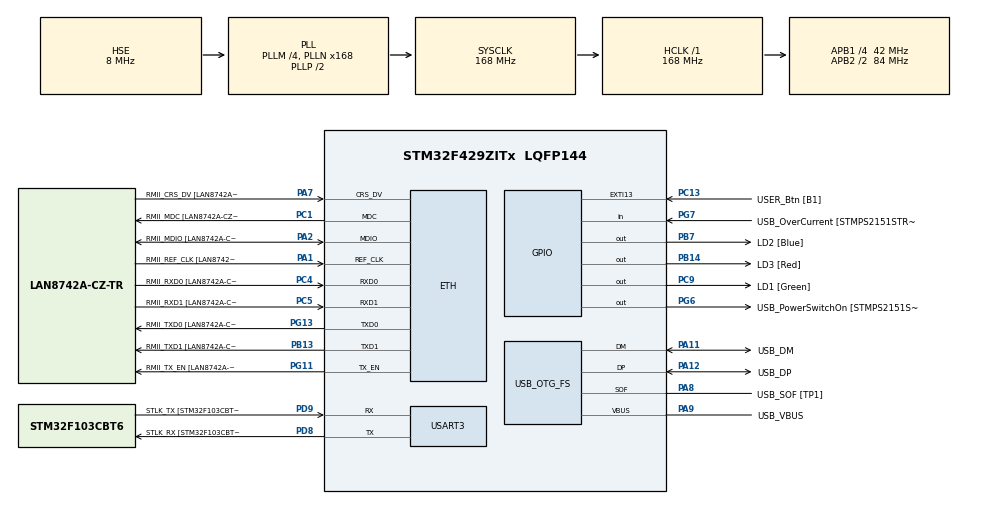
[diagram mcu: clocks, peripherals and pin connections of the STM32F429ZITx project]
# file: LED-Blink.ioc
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ETH.MediaInterface=ETH_MEDIA_INTERFACE_RMII
ETH.PHY_Name=LAN8742A_PHY_ADDRESS
ETH.PHY_Value=0
ETH.PhyAddress=0
FREERTOS.Tasks01=defaultTask,0,128,StartDefaultTask,Default,NULL
Mcu.Family=STM32F4
Mcu.Name=STM32F429ZITx
Mcu.Package=LQFP144
NVIC.PriorityGroup=NVIC_PRIORITYGROUP_4
NVIC.TIM1_UP_TIM10_IRQn=true\:0\:0\:false\:false\:true\:false\:false
NVIC.TimeBase=TIM1_UP_TIM10_IRQn
NVIC.TimeBaseIP=TIM1
PA0/WKUP.Mode=SYS_WakeUp0
PA0/WKUP.Signal=SYS_WKUP
PA1.GPIO_Label=RMII_REF_CLK [LAN8742A-CZ-TR_REFCLK0]
PA1.Mode=RMII
PA1.Signal=ETH_REF_CLK
PA10.GPIO_Label=USB_ID
PA10.Signal=USB_OTG_FS_ID
PA11.GPIO_Label=USB_DM
PA11.Mode=Device_Only
PA11.Signal=USB_OTG_FS_DM
PA12.GPIO_Label=USB_DP
PA12.Mode=Device_Only
PA12.Signal=USB_OTG_FS_DP
PA13.GPIO_Label=TMS
PA13.Mode=Serial_Wire
PA13.Signal=SYS_JTMS-SWDIO
PA14.GPIO_Label=TCK
PA14.Mode=Serial_Wire
PA14.Signal=SYS_JTCK-SWCLK
PA2.GPIO_Label=RMII_MDIO [LAN8742A-CZ-TR_MDIO]
PA2.Mode=RMII
PA2.Signal=ETH_MDIO
PA7.GPIO_Label=RMII_CRS_DV [LAN8742A-CZ-TR_CRS_DV]
PA7.Mode=RMII
PA7.Signal=ETH_CRS_DV
PA8.GPIO_Label=USB_SOF [TP1]
PA8.Mode=Activate_SOF_FS
PA8.Signal=USB_OTG_FS_SOF
PA9.GPIO_Label=USB_VBUS
PA9.Mode=Activate_VBUS
PA9.Signal=USB_OTG_FS_VBUS
PB13.GPIO_Label=RMII_TXD1 [LAN8742A-CZ-TR_TXD1]
PB13.Mode=RMII
PB13.Signal=ETH_TXD1
PB14.GPIO_Label=LD3 [Red]
PB14.Signal=GPIO_Output
PB7.GPIO_Label=LD2 [Blue]
PB7.Signal=GPIO_Output
PC1.GPIO_Label=RMII_MDC [LAN8742A-CZ-TR_MDC]
PC1.Mode=RMII
PC1.Signal=ETH_MDC
PC13.GPIO_Label=USER_Btn [B1]
PC13.Signal=GPXTI13
PC14/OSC32_IN.Mode=LSE-External-Oscillator
PC14/OSC32_IN.Signal=RCC_OSC32_IN
PC15/OSC32_OUT.Mode=LSE-External-Oscillator
PC15/OSC32_OUT.Signal=RCC_OSC32_OUT
PC4.GPIO_Label=RMII_RXD0 [LAN8742A-CZ-TR_RXD0]
PC4.Mode=RMII
PC4.Signal=ETH_RXD0
PC5.GPIO_Label=RMII_RXD1 [LAN8742A-CZ-TR_RXD1]
PC5.Mode=RMII
PC5.Signal=ETH_RXD1
PC9.GPIO_Label=LD1 [Green]
PC9.Signal=GPIO_Output
PD8.GPIO_Label=STLK_RX [STM32F103CBT6_PA3]
PD8.Mode=Asynchronous
PD8.Signal=USART3_TX
PD9.GPIO_Label=STLK_TX [STM32F103CBT6_PA2]
PD9.Mode=Asynchronous
PD9.Signal=USART3_RX
PG11.GPIO_Label=RMII_TX_EN [LAN8742A-CZ-TR_TXEN]
PG11.Mode=RMII
PG11.Signal=ETH_TX_EN
PG13.GPIO_Label=RMII_TXD0 [LAN8742A-CZ-TR_TXD0]
PG13.Mode=RMII
PG13.Signal=ETH_TXD0
PG6.GPIO_Label=USB_PowerSwitchOn [STMPS2151STR_EN]
PG6.Signal=GPIO_Output
PG7.GPIO_Label=USB_OverCurrent [STMPS2151STR_FAULT]
PG7.Signal=GPIO_Input
PH0/OSC_IN.GPIO_Label=MCO [STM32F103CBT6_PA8]
PH0/OSC_IN.Mode=HSE-External-Clock-Source
PH0/OSC_IN.Signal=RCC_OSC_IN
PH1/OSC_OUT.Mode=HSE-External-Clock-Source
PH1/OSC_OUT.Signal=RCC_OSC_OUT
ProjectManager.HeapSize=0x200
ProjectManager.StackSize=0x400
ProjectManager.TargetToolchain=SW4STM32
RCC.48MHZClocksFreq_Value=48000000
RCC.AHBFreq_Value=168000000
RCC.APB1CLKDivider=RCC_HCLK_DIV4
RCC.APB1Freq_Value=42000000
RCC.APB1TimFreq_Value=84000000
RCC.APB2CLKDivider=RCC_HCLK_DIV2
RCC.APB2Freq_Value=84000000
RCC.APB2TimCLKDivider=2
RCC.APB2TimFreq_Value=168000000
RCC.CortexFreq_Value=168000000
RCC.HCLKFreq_Value=168000000
RCC.HSE_VALUE=8000000
RCC.HSI_VALUE=16000000
RCC.PLLM=4
RCC.PLLMUL=RCC_PLL_MUL9
RCC.PLLN=168
RCC.PLLQ=7
RCC.PRESCALERUSB=RCC_USBCLKSOURCE_PLL_DIV1_5
RCC.SYSCLKFreq_VALUE=168000000
RCC.SYSCLKSource=RCC_SYSCLKSOURCE_PLLCLK
RCC.SYSCLKSourceVirtual=RCC_SYSCLKSOURCE_PLLCLK
RCC.USBFreq_Value=48000000
RCC.VCOOutputFreq_Value=336000000
USART3.VirtualMode=VM_ASYNC
USB_OTG_FS.VirtualMode=Device_Only
VP_FREERTOS_VS_ENABLE.Mode=Enabled
VP_SYS_VS_tim1.Mode=TIM1
board=NUCLEO-F429ZI

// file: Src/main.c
/* USER CODE BEGIN Header */
/**
  ******************************************************************************
  * @file           : main.c
  * @brief          : Main program body
  ******************************************************************************
  * This notice applies to any and all portions of this file
  * that are not between comment pairs USER CODE BEGIN and
  * USER CODE END. Other portions of this file, whether
  * inserted by the user or by software development tools
  * are owned by their respective copyright owners.
  *
  * Copyright (c) 2018 STMicroelectronics International N.V.
  * All rights reserved.
  *
  * Redistribution and use in source and binary forms, with or without
  * modification, are permitted, provided that the following conditions are met:
  *
  * 1. Redistribution of source code must retain the above copyright notice,
  *    this list of conditions and the following disclaimer.
  * 2. Redistributions in binary form must reproduce the above copyright notice,
  *    this list of conditions and the following disclaimer in the documentation
  *    and/or other materials provided with the distribution.
  * 3. Neither the name of STMicroelectronics nor the names of other
  *    contributors to this software may be used to endorse or promote products
  *    derived from this software without specific written permission.
  * 4. This software, including modifications and/or derivative works of this
  *    software, must execute solely and exclusively on microcontroller or
  *    microprocessor devices manufactured by or for STMicroelectronics.
  * 5. Redistribution and use of this software other than as permitted under
  *    this license is void and will automatically terminate your rights under
  *    this license.
  *
  * THIS SOFTWARE IS PROVIDED BY STMICROELECTRONICS AND CONTRIBUTORS "AS IS"
  * AND ANY EXPRESS, IMPLIED OR STATUTORY WARRANTIES, INCLUDING, BUT NOT
  * LIMITED TO, THE IMPLIED WARRANTIES OF MERCHANTABILITY, FITNESS FOR A
  * PARTICULAR PURPOSE AND NON-INFRINGEMENT OF THIRD PARTY INTELLECTUAL PROPERTY
  * RIGHTS ARE DISCLAIMED TO THE FULLEST EXTENT PERMITTED BY LAW. IN NO EVENT
  * SHALL STMICROELECTRONICS OR CONTRIBUTORS BE LIABLE FOR ANY DIRECT, INDIRECT,
  * INCIDENTAL, SPECIAL, EXEMPLARY, OR CONSEQUENTIAL DAMAGES (INCLUDING, BUT NOT
  * LIMITED TO, PROCUREMENT OF SUBSTITUTE GOODS OR SERVICES; LOSS OF USE, DATA,
  * OR PROFITS; OR BUSINESS INTERRUPTION) HOWEVER CAUSED AND ON ANY THEORY OF
  * LIABILITY, WHETHER IN CONTRACT, STRICT LIABILITY, OR TORT (INCLUDING
  * NEGLIGENCE OR OTHERWISE) ARISING IN ANY WAY OUT OF THE USE OF THIS SOFTWARE,
  * EVEN IF ADVISED OF THE POSSIBILITY OF SUCH DAMAGE.
  *
  ******************************************************************************
  */
/* USER CODE END Header */

#include "main.h"
#include "cmsis_os.h"

/* USER CODE BEGIN PD */
#define DEBOUNCECOUNTS 10
/* USER CODE END PD */

ETH_HandleTypeDef heth;

UART_HandleTypeDef huart3;

PCD_HandleTypeDef hpcd_USB_OTG_FS;

osThreadId defaultTaskHandle;
/* USER CODE BEGIN PV */
static xSemaphoreHandle xButtonUser1Semaphore = NULL;

/* USER CODE END PV */

void SystemClock_Config(void);
static void MX_GPIO_Init(void);
static void MX_ETH_Init(void);
static void MX_USART3_UART_Init(void);
static void MX_USB_OTG_FS_PCD_Init(void);
void StartDefaultTask(void const * argument);

/* USER CODE BEGIN 0 */
void Led_GateKeeper(void* pvParameters)
{
  TickType_t xDelay = 500 / portTICK_PERIOD_MS;
  for(;;)
  {
    HAL_GPIO_WritePin(GPIOB, LD2_Pin, GPIO_PIN_RESET);

    vTaskDelay(xDelay);
    HAL_GPIO_WritePin(GPIOB, LD2_Pin, GPIO_PIN_SET);

    vTaskDelay(xDelay);
  }
}

void LedToggle()
{
  HAL_GPIO_TogglePin(GPIOB, LD3_Pin);
}

void vButtonCheckTask( void *pvParameters )
{
  //for debounce
  static uint8_t count;

  TickType_t xLastWakeTime = xTaskGetTickCount();
  const portTickType xFrequency = 20;
  //create semaphores for each button
  if((xButtonUser1Semaphore==NULL)) {
    vSemaphoreCreateBinary(xButtonUser1Semaphore);
  }

//check if semaphores were created successfully
  if((xButtonUser1Semaphore!=NULL))
  {
    //successfully created
    //resets initial semaphores to 0
    xSemaphoreTake(xButtonUser1Semaphore, (portTickType)0);

  }  else {
    //send error of failure
  }

  for (;;)
  {
    xSemaphoreTake(xButtonUser1Semaphore, (portTickType)0);
    if (HAL_GPIO_ReadPin(USER_Btn_GPIO_Port, USER_Btn_Pin)==GPIO_PIN_SET)
    {
      count++;

      if(count>=DEBOUNCECOUNTS)
      {
        xSemaphoreGive(xButtonUser1Semaphore);
        count = 0;
        HAL_GPIO_WritePin(USER_Btn_GPIO_Port, USER_Btn_Pin, GPIO_PIN_RESET);
        vTaskDelay(50);
      }
    }
    vTaskDelay(10);
//      vTaskDelayUntil( &xLastWakeTime, (const TickType_t) xFrequency);
  }
}

void vButtonLEDsTask( void *pvParameters )
{
  portTickType xLastWakeTime;
  const portTickType xFrequency = 100;
  xLastWakeTime=xTaskGetTickCount();

  for( ;; )
  {
    if((xButtonUser1Semaphore!=NULL))
    {
      if (xSemaphoreTake(xButtonUser1Semaphore, (portTickType)10)==pdTRUE)
      {
        LedToggle();
        xSemaphoreGive(xButtonUser1Semaphore);
      }
    }
    vTaskDelay(20);
//    vTaskDelayUntil(&xLastWakeTime,xFrequency);
  }
}
/* USER CODE END 0 */

int main(void)
{

  /* MCU Configuration--------------------------------------------------------*/

  /* Reset of all peripherals, Initializes the Flash interface and the Systick. */
  HAL_Init();

  /* Configure the system clock */
  SystemClock_Config();

  /* Initialize all configured peripherals */
  MX_GPIO_Init();
  MX_ETH_Init();
  MX_USART3_UART_Init();
  MX_USB_OTG_FS_PCD_Init();
  /* USER CODE BEGIN 2 */
  xTaskCreate(Led_GateKeeper, (const char* const) "led_gate", configMINIMAL_STACK_SIZE, 0, 2, 0);
  xTaskCreate( vButtonCheckTask, (const char* const) "Button", configMINIMAL_STACK_SIZE, NULL, 2, NULL );
  xTaskCreate( vButtonLEDsTask, (const char* const) "ButtonLED", configMINIMAL_STACK_SIZE, NULL, 2, NULL );
  /* USER CODE END 2 */

  /* Create the thread(s) */
  /* definition and creation of defaultTask */
  osThreadDef(defaultTask, StartDefaultTask, osPriorityNormal, 0, 128);
  defaultTaskHandle = osThreadCreate(osThread(defaultTask), NULL);

  /* Start scheduler */
  osKernelStart();

  /* We should never get here as control is now taken by the scheduler */

  /* Infinite loop */
  while (1)
  {

  }
}

void SystemClock_Config(void)
{
  RCC_OscInitTypeDef RCC_OscInitStruct = {0};
  RCC_ClkInitTypeDef RCC_ClkInitStruct = {0};

  /**Configure the main internal regulator output voltage
  */
  __HAL_RCC_PWR_CLK_ENABLE();
  __HAL_PWR_VOLTAGESCALING_CONFIG(PWR_REGULATOR_VOLTAGE_SCALE1);
  /**Initializes the CPU, AHB and APB busses clocks
  */
  RCC_OscInitStruct.OscillatorType = RCC_OSCILLATORTYPE_HSE;
  RCC_OscInitStruct.HSEState = RCC_HSE_BYPASS;
  RCC_OscInitStruct.PLL.PLLState = RCC_PLL_ON;
  RCC_OscInitStruct.PLL.PLLSource = RCC_PLLSOURCE_HSE;
  RCC_OscInitStruct.PLL.PLLM = 4;
  RCC_OscInitStruct.PLL.PLLN = 168;
  RCC_OscInitStruct.PLL.PLLP = RCC_PLLP_DIV2;
  RCC_OscInitStruct.PLL.PLLQ = 7;
  if (HAL_RCC_OscConfig(&RCC_OscInitStruct) != HAL_OK)
  {
    Error_Handler();
  }
  /**Initializes the CPU, AHB and APB busses clocks
  */
  RCC_ClkInitStruct.ClockType = RCC_CLOCKTYPE_HCLK|RCC_CLOCKTYPE_SYSCLK
                              |RCC_CLOCKTYPE_PCLK1|RCC_CLOCKTYPE_PCLK2;
  RCC_ClkInitStruct.SYSCLKSource = RCC_SYSCLKSOURCE_PLLCLK;
  RCC_ClkInitStruct.AHBCLKDivider = RCC_SYSCLK_DIV1;
  RCC_ClkInitStruct.APB1CLKDivider = RCC_HCLK_DIV4;
  RCC_ClkInitStruct.APB2CLKDivider = RCC_HCLK_DIV2;

  if (HAL_RCC_ClockConfig(&RCC_ClkInitStruct, FLASH_LATENCY_5) != HAL_OK)
  {
    Error_Handler();
  }
}

static void MX_ETH_Init(void)
{

   uint8_t MACAddr[6] ;

  heth.Instance = ETH;
  heth.Init.AutoNegotiation = ETH_AUTONEGOTIATION_ENABLE;
  heth.Init.PhyAddress = LAN8742A_PHY_ADDRESS;
  MACAddr[0] = 0x00;
  MACAddr[1] = 0x80;
  MACAddr[2] = 0xE1;
  MACAddr[3] = 0x00;
  MACAddr[4] = 0x00;
  MACAddr[5] = 0x00;
  heth.Init.MACAddr = &MACAddr[0];
  heth.Init.RxMode = ETH_RXPOLLING_MODE;
  heth.Init.ChecksumMode = ETH_CHECKSUM_BY_HARDWARE;
  heth.Init.MediaInterface = ETH_MEDIA_INTERFACE_RMII;

  if (HAL_ETH_Init(&heth) != HAL_OK)
  {
    Error_Handler();
  }

}

static void MX_USART3_UART_Init(void)
{

  huart3.Instance = USART3;
  huart3.Init.BaudRate = 115200;
  huart3.Init.WordLength = UART_WORDLENGTH_8B;
  huart3.Init.StopBits = UART_STOPBITS_1;
  huart3.Init.Parity = UART_PARITY_NONE;
  huart3.Init.Mode = UART_MODE_TX_RX;
  huart3.Init.HwFlowCtl = UART_HWCONTROL_NONE;
  huart3.Init.OverSampling = UART_OVERSAMPLING_16;
  if (HAL_UART_Init(&huart3) != HAL_OK)
  {
    Error_Handler();
  }

}

static void MX_USB_OTG_FS_PCD_Init(void)
{

  hpcd_USB_OTG_FS.Instance = USB_OTG_FS;
  hpcd_USB_OTG_FS.Init.dev_endpoints = 4;
  hpcd_USB_OTG_FS.Init.speed = PCD_SPEED_FULL;
  hpcd_USB_OTG_FS.Init.dma_enable = DISABLE;
  hpcd_USB_OTG_FS.Init.ep0_mps = DEP0CTL_MPS_64;
  hpcd_USB_OTG_FS.Init.phy_itface = PCD_PHY_EMBEDDED;
  hpcd_USB_OTG_FS.Init.Sof_enable = ENABLE;
  hpcd_USB_OTG_FS.Init.low_power_enable = DISABLE;
  hpcd_USB_OTG_FS.Init.lpm_enable = DISABLE;
  hpcd_USB_OTG_FS.Init.vbus_sensing_enable = ENABLE;
  hpcd_USB_OTG_FS.Init.use_dedicated_ep1 = DISABLE;
  if (HAL_PCD_Init(&hpcd_USB_OTG_FS) != HAL_OK)
  {
    Error_Handler();
  }

}

static void MX_GPIO_Init(void)
{
  GPIO_InitTypeDef GPIO_InitStruct = {0};

  /* GPIO Ports Clock Enable */
  __HAL_RCC_GPIOC_CLK_ENABLE();
  __HAL_RCC_GPIOH_CLK_ENABLE();
  __HAL_RCC_GPIOA_CLK_ENABLE();
  __HAL_RCC_GPIOB_CLK_ENABLE();
  __HAL_RCC_GPIOD_CLK_ENABLE();
  __HAL_RCC_GPIOG_CLK_ENABLE();

  /*Configure GPIO pin Output Level */
  HAL_GPIO_WritePin(GPIOB, LD3_Pin|LD2_Pin, GPIO_PIN_RESET);

  /*Configure GPIO pin Output Level */
  HAL_GPIO_WritePin(USB_PowerSwitchOn_GPIO_Port, USB_PowerSwitchOn_Pin, GPIO_PIN_RESET);

  /*Configure GPIO pin Output Level */
  HAL_GPIO_WritePin(LD1_GPIO_Port, LD1_Pin, GPIO_PIN_RESET);

  /*Configure GPIO pin : USER_Btn_Pin */
  GPIO_InitStruct.Pin = USER_Btn_Pin;
  GPIO_InitStruct.Mode = GPIO_MODE_IT_RISING;
  GPIO_InitStruct.Pull = GPIO_NOPULL;
  HAL_GPIO_Init(USER_Btn_GPIO_Port, &GPIO_InitStruct);

  /*Configure GPIO pins : LD3_Pin LD2_Pin */
  GPIO_InitStruct.Pin = LD3_Pin|LD2_Pin;
  GPIO_InitStruct.Mode = GPIO_MODE_OUTPUT_PP;
  GPIO_InitStruct.Pull = GPIO_NOPULL;
  GPIO_InitStruct.Speed = GPIO_SPEED_FREQ_LOW;
  HAL_GPIO_Init(GPIOB, &GPIO_InitStruct);

  /*Configure GPIO pin : USB_PowerSwitchOn_Pin */
  GPIO_InitStruct.Pin = USB_PowerSwitchOn_Pin;
  GPIO_InitStruct.Mode = GPIO_MODE_OUTPUT_PP;
  GPIO_InitStruct.Pull = GPIO_NOPULL;
  GPIO_InitStruct.Speed = GPIO_SPEED_FREQ_LOW;
  HAL_GPIO_Init(USB_PowerSwitchOn_GPIO_Port, &GPIO_InitStruct);

  /*Configure GPIO pin : USB_OverCurrent_Pin */
  GPIO_InitStruct.Pin = USB_OverCurrent_Pin;
  GPIO_InitStruct.Mode = GPIO_MODE_INPUT;
  GPIO_InitStruct.Pull = GPIO_NOPULL;
  HAL_GPIO_Init(USB_OverCurrent_GPIO_Port, &GPIO_InitStruct);

  /*Configure GPIO pin : LD1_Pin */
  GPIO_InitStruct.Pin = LD1_Pin;
  GPIO_InitStruct.Mode = GPIO_MODE_OUTPUT_PP;
  GPIO_InitStruct.Pull = GPIO_NOPULL;
  GPIO_InitStruct.Speed = GPIO_SPEED_FREQ_LOW;
  HAL_GPIO_Init(LD1_GPIO_Port, &GPIO_InitStruct);

}

void StartDefaultTask(void const * argument)
{

  for(;;)
  {
    osDelay(1);
  }
}

void HAL_TIM_PeriodElapsedCallback(TIM_HandleTypeDef *htim)
{
  if (htim->Instance == TIM1) {
    HAL_IncTick();
  }
}

void Error_Handler(void)
{
}

/************************ (C) COPYRIGHT STMicroelectronics *****END OF FILE****/
